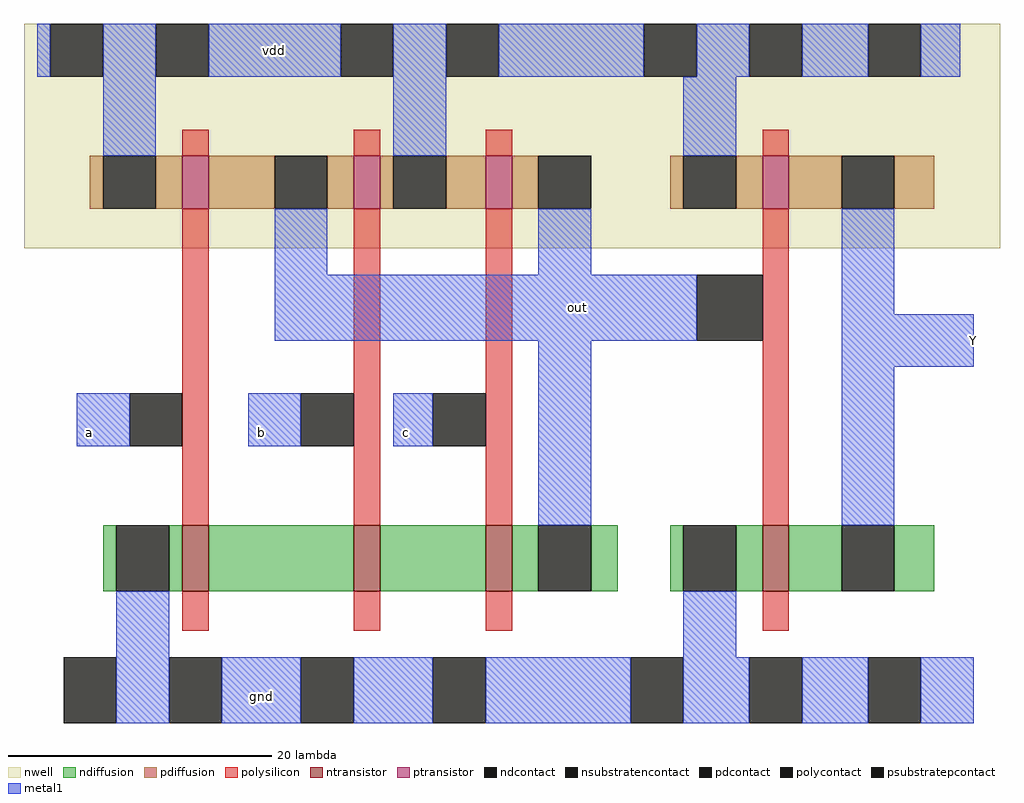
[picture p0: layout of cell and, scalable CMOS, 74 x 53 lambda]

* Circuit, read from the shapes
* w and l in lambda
.subckt and Y a b c gnd out vdd
M1 n1 a gnd gnd nfet w=5 l=2
M2 n2 b n1 gnd nfet w=5 l=2
M3 out c n2 gnd nfet w=5 l=2
M4 Y out gnd gnd nfet w=5 l=2
M5 out a vdd vdd pfet w=4 l=2
M6 vdd b out vdd pfet w=4 l=2
M7 out c vdd vdd pfet w=4 l=2
M8 Y out vdd vdd pfet w=4 l=2
.ends

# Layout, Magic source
magic
tech scmos
<< nwell >>
rect -6 0 68 17
<< polysilicon >>
rect 6 7 8 9
rect 19 7 21 9
rect 29 7 31 9
rect 50 7 52 9
rect 6 -21 8 3
rect 19 -21 21 3
rect 29 -21 31 3
rect 50 -21 52 3
rect 6 -29 8 -26
rect 19 -29 21 -26
rect 29 -29 31 -26
rect 50 -29 52 -26
<< ndiffusion >>
rect 0 -26 1 -21
rect 5 -26 6 -21
rect 8 -26 19 -21
rect 21 -26 29 -21
rect 31 -26 33 -21
rect 37 -26 39 -21
rect 43 -26 44 -21
rect 48 -26 50 -21
rect 52 -26 56 -21
rect 60 -26 63 -21
<< pdiffusion >>
rect -1 3 0 7
rect 4 3 6 7
rect 8 3 13 7
rect 17 3 19 7
rect 21 3 22 7
rect 26 3 29 7
rect 31 3 33 7
rect 43 3 44 7
rect 48 3 50 7
rect 52 3 56 7
rect 60 3 63 7
<< metal1 >>
rect -5 13 -4 17
rect 0 7 4 17
rect 8 13 18 17
rect 22 7 26 17
rect 30 13 41 17
rect 45 13 49 17
rect 53 13 58 17
rect 62 13 65 17
rect 44 7 48 13
rect 13 -2 17 3
rect 33 -2 37 3
rect 13 -7 45 -2
rect 56 -5 60 3
rect -2 -15 2 -11
rect 11 -15 15 -11
rect 22 -15 25 -11
rect 33 -21 37 -7
rect 56 -9 66 -5
rect 56 -21 60 -9
rect 1 -36 5 -26
rect 44 -31 48 -26
rect 9 -36 15 -31
rect 19 -36 25 -31
rect 29 -36 40 -31
rect 44 -36 49 -31
rect 53 -36 58 -31
rect 62 -36 66 -31
<< ntransistor >>
rect 6 -26 8 -21
rect 19 -26 21 -21
rect 29 -26 31 -21
rect 50 -26 52 -21
<< ptransistor >>
rect 6 3 8 7
rect 19 3 21 7
rect 29 3 31 7
rect 50 3 52 7
<< polycontact >>
rect 2 -15 6 -11
rect 15 -15 19 -11
rect 25 -15 29 -11
rect 45 -7 50 -2
<< ndcontact >>
rect 1 -26 5 -21
rect 33 -26 37 -21
rect 44 -26 48 -21
rect 56 -26 60 -21
<< pdcontact >>
rect 0 3 4 7
rect 13 3 17 7
rect 22 3 26 7
rect 33 3 37 7
rect 44 3 48 7
rect 56 3 60 7
<< psubstratepcontact >>
rect -3 -36 1 -31
rect 5 -36 9 -31
rect 15 -36 19 -31
rect 25 -36 29 -31
rect 40 -36 44 -31
rect 49 -36 53 -31
rect 58 -36 62 -31
<< nsubstratencontact >>
rect -4 13 0 17
rect 4 13 8 17
rect 18 13 22 17
rect 26 13 30 17
rect 41 13 45 17
rect 49 13 53 17
rect 58 13 62 17
<< labels >>
rlabel metal1 12 -34 12 -34 1 gnd
rlabel metal1 36 -7 36 -2 1 out
rlabel metal1 66 -9 66 -5 7 Y
rlabel metal1 13 15 13 15 5 vdd
rlabel metal1 -1 -14 -1 -14 3 a
rlabel metal1 12 -14 12 -14 1 b
rlabel metal1 23 -14 23 -14 1 c
<< end >>
